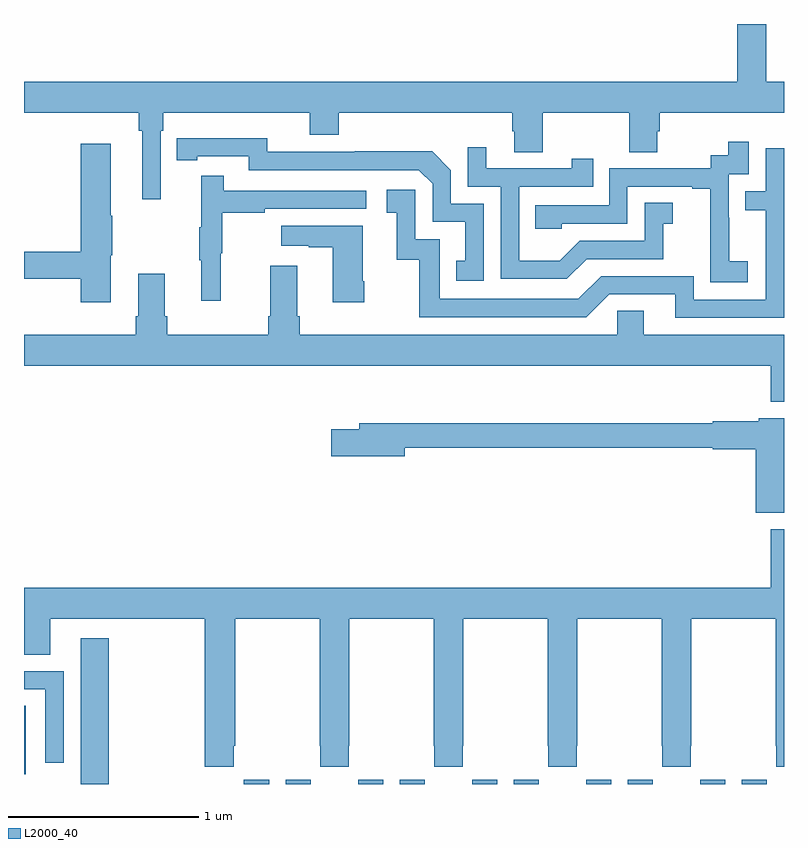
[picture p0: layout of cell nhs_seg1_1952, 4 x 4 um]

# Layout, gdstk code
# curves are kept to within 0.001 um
import gdstk
lib = gdstk.Library(unit=1e-6, precision=1e-09)
def R(c, l, rs):  # rectangles x0, y0, x1, y1
    for r in rs: c.add(gdstk.rectangle(r[:2], r[2:], *l))
def P(c, l, *ps):  # polygons
    for p in ps: c.add(gdstk.Polygon(p, *l))
L2000_40 = (2000, 40)

nhs_seg1_1952 = lib.new_cell('nhs_seg1_1952')
R(nhs_seg1_1952, L2000_40, [(217.298,548.199,217.445,548.965), (218.156,548.199,218.29,548.221), (218.378,548.199,218.508,548.221), (218.76,548.199,218.89,548.221), (218.978,548.199,219.108,548.221), (219.36,548.199,219.49,548.221), (219.578,548.199,219.708,548.221), (219.96,548.199,220.09,548.221), (220.178,548.199,220.308,548.221), (220.56,548.199,220.69,548.221), (220.778,548.199,220.908,548.221), (217,548.25,217.009,548.612)])
P(nhs_seg1_1952, L2000_40, [(217,551.732),(217.603,551.732),(217.603,551.636),(217.622,551.636),(217.622,551.277),(217.719,551.277),(217.719,551.636),(217.733,551.636),(217.733,551.732),(218.504,551.732),(218.504,551.615),(218.657,551.615),(218.657,551.732),(219.569,551.732),(219.569,551.634),(219.581,551.634),(219.581,551.524),(219.729,551.524),(219.729,551.732),(220.186,551.732),(220.186,551.524),(220.333,551.524),(220.333,551.634),(220.346,551.634),(220.346,551.732),(221,551.732),(221,551.896),(220.906,551.896),(220.906,552.199),(220.754,552.199),(220.754,551.896),(217,551.896)],
  [(219.42,551.253),(219.246,551.253),(219.246,551.43),(219.148,551.528),(218.74,551.528),(218.74,551.526),(218.28,551.526),(218.28,551.599),(217.804,551.598),(217.804,551.482),(217.912,551.482),(217.912,551.502),(218.184,551.502),(218.184,551.43),(219.078,551.43),(219.15,551.358),(219.15,551.157),(219.323,551.157),(219.323,550.953),(219.274,550.953),(219.274,550.848),(219.42,550.848)],
  [(220.81,550.951),(220.712,550.951),(220.712,551.18),(220.71,551.18),(220.71,551.409),(220.815,551.409),(220.815,551.578),(220.707,551.578),(220.707,551.508),(220.614,551.508),(220.614,551.439),(220.08,551.439),(220.08,551.244),(219.691,551.244),(219.691,551.121),(219.831,551.121),(219.831,551.148),(220.176,551.148),(220.176,551.343),(220.517,551.343),(220.517,551.331),(220.613,551.331),(220.613,551.047),(220.612,551.047),(220.612,550.841),(220.81,550.841)],
  [(217.456,550.983),(217.464,550.983),(217.464,551.189),(217.456,551.189),(217.456,551.569),(217.298,551.569),(217.298,551),(217,551),(217,550.858),(217.298,550.858),(217.298,550.734),(217.456,550.734)],
  [(219.961,550.962),(220.365,550.962),(220.365,551.147),(220.414,551.147),(220.414,551.257),(220.266,551.257),(220.266,551.058),(219.924,551.058),(219.82,550.954),(219.606,550.954),(219.606,551.343),(219.995,551.343),(219.995,551.491),(219.884,551.491),(219.884,551.439),(219.433,551.439),(219.433,551.551),(219.336,551.551),(219.336,551.343),(219.51,551.343),(219.51,550.857),(219.856,550.857)],
  [(221,551.544),(220.905,551.544),(220.905,551.319),(220.795,551.319),(220.795,551.218),(220.905,551.218),(220.905,550.749),(220.524,550.749),(220.524,550.872),(220.038,550.872),(219.918,550.752),(219.189,550.752),(219.189,551.067),(219.06,551.067),(219.06,551.326),(218.91,551.326),(218.91,551.205),(218.963,551.205),(218.963,550.959),(219.081,550.959),(219.081,550.656),(219.96,550.656),(220.08,550.776),(220.427,550.776),(220.427,550.653),(221,550.653)],
  [(218.036,550.992),(218.044,550.992),(218.044,551.206),(218.267,551.206),(218.267,551.226),(218.8,551.226),(218.8,551.322),(218.051,551.322),(218.051,551.401),(217.934,551.401),(217.934,551.129),(217.923,551.129),(217.923,550.955),(217.934,550.955),(217.934,550.743),(218.036,550.743)],
  [(218.79,550.846),(218.782,550.846),(218.782,551.137),(218.355,551.137),(218.355,551.033),(218.498,551.033),(218.498,551.023),(218.624,551.023),(218.624,550.734),(218.79,550.734)],
  [(221,550.564),(220.261,550.564),(220.261,550.691),(220.122,550.691),(220.122,550.564),(218.45,550.564),(218.45,550.66),(218.437,550.66),(218.437,550.927),(218.297,550.927),(218.297,550.66),(218.285,550.66),(218.285,550.564),(217.754,550.564),(217.754,550.66),(217.741,550.66),(217.741,550.885),(217.601,550.885),(217.601,550.66),(217.589,550.66),(217.589,550.564),(217,550.564),(217,550.4),(220.931,550.4),(220.931,550.21),(221,550.21)],
  [(221,550.125),(220.866,550.125),(220.866,550.107),(220.626,550.107),(220.626,550.099),(218.765,550.099),(218.765,550.065),(218.616,550.065),(218.616,549.923),(219.004,549.923),(219.004,549.97),(220.626,549.97),(220.626,549.962),(220.85,549.962),(220.85,549.626),(221,549.626)],
  [(218.105,548.401),(218.112,548.401),(218.112,549.068),(218.557,549.068),(218.557,548.401),(218.559,548.401),(218.559,548.289),(218.709,548.289),(218.709,548.401),(218.712,548.401),(218.712,549.068),(219.157,549.068),(219.157,548.401),(219.159,548.401),(219.159,548.289),(219.309,548.289),(219.309,548.401),(219.312,548.401),(219.312,549.068),(219.757,549.068),(219.757,548.401),(219.759,548.401),(219.759,548.289),(219.909,548.289),(219.909,548.401),(219.912,548.401),(219.912,549.068),(220.357,549.068),(220.357,548.401),(220.359,548.401),(220.359,548.289),(220.509,548.289),(220.509,548.401),(220.512,548.401),(220.512,549.068),(220.957,549.068),(220.957,548.401),(220.959,548.401),(220.959,548.289),(221,548.289),(221,549.541),(220.931,549.541),(220.931,549.232),(217,549.232),(217,548.878),(217.138,548.878),(217.138,549.068),(217.952,549.068),(217.952,548.289),(218.105,548.289)],
  [(217.209,548.793),(217,548.793),(217,548.697),(217.113,548.697),(217.113,548.31),(217.209,548.31)])

lib.write_gds('nhs_seg1_1952.gds')
